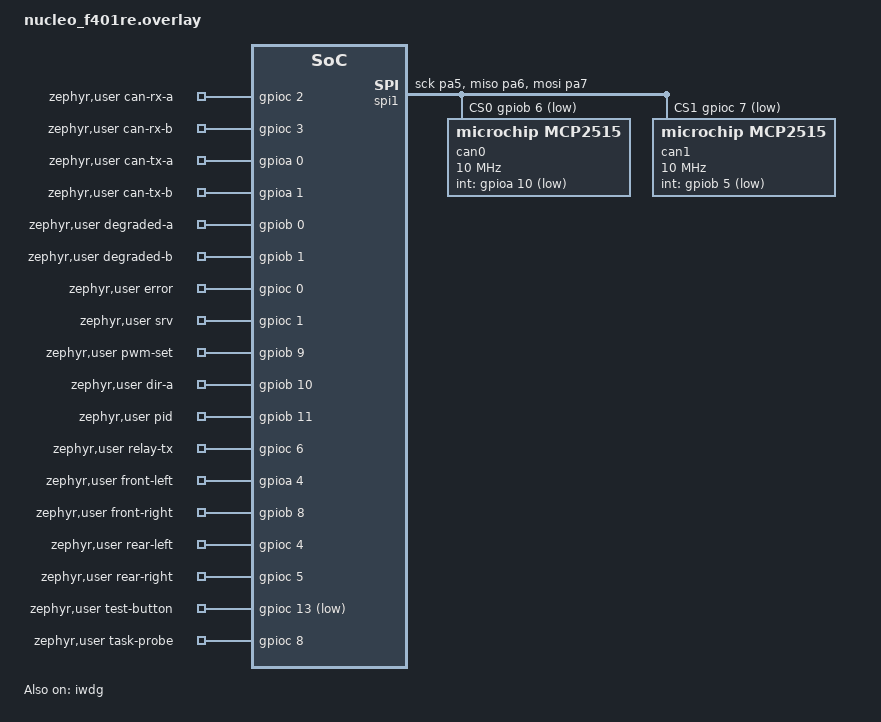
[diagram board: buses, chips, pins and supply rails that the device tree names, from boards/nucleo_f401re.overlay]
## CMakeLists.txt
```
cmake_minimum_required(VERSION 3.28.0)
find_package(Zephyr REQUIRED HINTS $ENV{ZEPHYR_BASE})
project(lab3_dual_can_demo)
get_filename_component(team_root "${CMAKE_CURRENT_SOURCE_DIR}/../../.." ABSOLUTE)
target_sources(app PRIVATE src/main.c src/can_protocol.c src/timing_trace.c src/timing_stats.c src/timing_probe.c)
if(CONFIG_LAB3_ZONE_N3)
    # Reuse the Lab 2 calculation directly; never link its encoder/motor hardware drivers.
    set(lab2_pid "${CMAKE_CURRENT_SOURCE_DIR}/../../../bringup/motor_test/src")
    target_sources(app PRIVATE src/pid_measurement.c "${lab2_pid}/velocity_control.c")
    target_include_directories(app PRIVATE "${lab2_pid}")
endif()
if(CONFIG_LAB3_ZONE_N2)
    # Reuse only Lab 2's mapping, not its PWM driver or automatic steering policy.
    set(calibration_file "${team_root}/config/servo_calibration.json")
    set_property(DIRECTORY APPEND PROPERTY CMAKE_CONFIGURE_DEPENDS "${calibration_file}")
    file(READ "${calibration_file}" calibration_json)
    foreach(point LEFT CENTER RIGHT)
        string(TOLOWER "${point}" key)
        string(JSON SERVO_${point}_US GET "${calibration_json}" "${key}_us")
        if(NOT "${SERVO_${point}_US}" MATCHES "^[0-9]+$" OR
           SERVO_${point}_US LESS 500 OR SERVO_${point}_US GREATER 2500)
            message(FATAL_ERROR "Invalid ${key} steering calibration")
        endif()
    endforeach()
    if(NOT ((SERVO_LEFT_US LESS SERVO_CENTER_US AND SERVO_CENTER_US LESS SERVO_RIGHT_US) OR
            (SERVO_LEFT_US GREATER SERVO_CENTER_US AND SERVO_CENTER_US GREATER SERVO_RIGHT_US)))
        message(FATAL_ERROR "Steering center must be between endpoints")
    endif()
    configure_file("${team_root}/stm32_zephyr/src/servo_calibration.h.in"
                   generated/servo_calibration.h @ONLY)
    target_sources(app PRIVATE src/steering_measurement.c "${team_root}/stm32_zephyr/src/servo_core.c")
    target_include_directories(app PRIVATE "${team_root}/stm32_zephyr/src"
                               "${CMAKE_CURRENT_BINARY_DIR}/generated")
endif()
```

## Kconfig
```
mainmenu "Lab 3 Dual CAN measurement baseline"
source "Kconfig.zephyr"

config LAB3_ZONE_N2
    bool "Build front steering zone N2"
    help
      Build the front STM32 demo: steering request reporting and front LEDs.

config LAB3_ZONE_N3
    bool "Build rear drivetrain zone N3"
    help
      Build the rear STM32 demo: drivetrain request reporting, PID timing, rear LEDs.

config LAB3_RELAY
    bool "Include the Part 4 relay task"
    depends on LAB3_ZONE_N2
    default n
    help
      Leave disabled for the Part 2/3 single-hop task measurements.
```

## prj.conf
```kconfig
CONFIG_CAN=y
CONFIG_CAN_INIT_PRIORITY=80
CONFIG_GPIO=y
CONFIG_SERIAL=y
CONFIG_CONSOLE=y
CONFIG_UART_CONSOLE=y
CONFIG_PRINTK=y
CONFIG_PRINTK_SYNC=n
CONFIG_MAIN_STACK_SIZE=2048
CONFIG_SYSTEM_WORKQUEUE_STACK_SIZE=2048
CONFIG_HEAP_MEM_POOL_SIZE=1024
CONFIG_SYS_CLOCK_TICKS_PER_SEC=1000
CONFIG_ASSERT=y
CONFIG_WATCHDOG=y
# Main installs the 1 s timeout; avoid the driver's separate boot-time timeout.
CONFIG_WDT_DISABLE_AT_BOOT=y
CONFIG_SPI=y
# Poll short MCP2515 transfers; the board default interrupt mode adds a per-byte IRQ and a sleep/wake per transaction.
CONFIG_SPI_STM32_INTERRUPT=n
CONFIG_CAN_MCP2515=y
CONFIG_CAN_DEFAULT_BITRATE=500000
# One software filter per catalog ID, for each controller.
CONFIG_CAN_MAX_FILTER=7
CONFIG_CAN_MCP2515_INT_THREAD_PRIO=2
CONFIG_EVENTS=y
CONFIG_SHELL=y
CONFIG_SHELL_STACK_SIZE=2048
CONFIG_THREAD_NAME=y
# Per-activation heartbeat runtime, separate from elapsed GPIO pulses.
CONFIG_THREAD_RUNTIME_STATS=y
CONFIG_FAULT_DUMP=2
CONFIG_DEBUG_COREDUMP=y
CONFIG_DEBUG_COREDUMP_BACKEND_LOGGING=y
CONFIG_DEBUG_COREDUMP_MEMORY_DUMP_MIN=y
CONFIG_LOG_PRINTK=n
```

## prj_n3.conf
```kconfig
CONFIG_LAB3_ZONE_N3=y
# Match Lab 2's floating-point PID execution and preserve FP state across threads.
CONFIG_FPU=y
CONFIG_FPU_SHARING=y
```

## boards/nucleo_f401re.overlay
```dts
/* Lab 3 dual MCP2515 overlay for NUCLEO-F401RE.
 * Check pinctrl labels and the exact module oscillator before flashing.
 * Suggested wiring: SPI1 PA5/PA6/PA7 shared; CAN A CS PB6 / INT PA10;
 * CAN B CS PC7 / INT PB5. MCP2515 modules use 16 MHz oscillator per handout.
 */
#include <zephyr/dt-bindings/gpio/gpio.h>

/ {
    aliases { can-a = &can_a; can-b = &can_b; };
    zephyr,user {
        can-rx-a-gpios = <&gpioc 2 GPIO_ACTIVE_HIGH>;
        can-rx-b-gpios = <&gpioc 3 GPIO_ACTIVE_HIGH>;
        can-tx-a-gpios = <&gpioa 0 GPIO_ACTIVE_HIGH>;
        can-tx-b-gpios = <&gpioa 1 GPIO_ACTIVE_HIGH>;
        degraded-a-gpios = <&gpiob 0 GPIO_ACTIVE_HIGH>;
        degraded-b-gpios = <&gpiob 1 GPIO_ACTIVE_HIGH>;
        error-gpios = <&gpioc 0 GPIO_ACTIVE_HIGH>;
        srv-gpios = <&gpioc 1 GPIO_ACTIVE_HIGH>;
        pwm-set-gpios = <&gpiob 9 GPIO_ACTIVE_HIGH>;
        dir-a-gpios = <&gpiob 10 GPIO_ACTIVE_HIGH>;
        pid-gpios = <&gpiob 11 GPIO_ACTIVE_HIGH>;
        relay-tx-gpios = <&gpioc 6 GPIO_ACTIVE_HIGH>;
        front-left-gpios = <&gpioa 4 GPIO_ACTIVE_HIGH>;
        front-right-gpios = <&gpiob 8 GPIO_ACTIVE_HIGH>;
        rear-left-gpios = <&gpioc 4 GPIO_ACTIVE_HIGH>;
        rear-right-gpios = <&gpioc 5 GPIO_ACTIVE_HIGH>;
        /* Built-in blue B1 button, replacing the external PA8 test input. */
        test-button-gpios = <&gpioc 13 GPIO_ACTIVE_LOW>;
        task-probe-gpios = <&gpioc 8 GPIO_ACTIVE_HIGH>;
    };
};

&spi1 {
    status = "okay";
    pinctrl-0 = <&spi1_sck_pa5 &spi1_miso_pa6 &spi1_mosi_pa7>;
    pinctrl-names = "default";
    cs-gpios = <&gpiob 6 (GPIO_ACTIVE_LOW | GPIO_PULL_UP)>,
               <&gpioc 7 (GPIO_ACTIVE_LOW | GPIO_PULL_UP)>;
    can_a: mcp2515@0 {
        compatible = "microchip,mcp2515";
        reg = <0>;
        spi-max-frequency = <10000000>; /* MCP2515 max; STM32 SPI1 runs 84 MHz/16 = 5.25 MHz */
        int-gpios = <&gpioa 10 GPIO_ACTIVE_LOW>;
        osc-freq = <16000000>;
        status = "okay";
        label = "can0";
    };
    can_b: mcp2515@1 {
        compatible = "microchip,mcp2515";
        reg = <1>;
        spi-max-frequency = <10000000>; /* MCP2515 max; STM32 SPI1 runs 84 MHz/16 = 5.25 MHz */
        int-gpios = <&gpiob 5 GPIO_ACTIVE_LOW>;
        osc-freq = <16000000>;
        status = "okay";
        label = "can1";
    };
};

/* Independent watchdog: confirm this node label is present in your Zephyr board DTS. */
&iwdg { status = "okay"; };
```

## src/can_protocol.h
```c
#ifndef LAB3_CAN_PROTOCOL_H
#define LAB3_CAN_PROTOCOL_H
#include <stdbool.h>
#include <stdint.h>
#include <zephyr/drivers/can.h>
#define ID_CTRL  0x010
#define ID_FAULT 0x020
#define ID_HB_N1 0x100
#define ID_HB_N2 0x101
#define ID_HB_N3 0x102
#define ID_BLINK 0x200
#define ID_FORCE 0x300
#define ZONE_N1 1
#define ZONE_N2 2
#define ZONE_N3 3
#define STATE_ERROR 0
#define STATE_OK 1
#define STATE_TEST 2
#define BLINK_OFF 0
#define BLINK_LEFT 1
#define BLINK_RIGHT 2
#define BLINK_HAZARD 3
uint8_t lab3_crc8(const uint8_t *data, unsigned length);
bool lab3_frame_valid(const struct can_frame *frame);
void lab3_seal(struct can_frame *frame);
void lab3_pack_heartbeat(struct can_frame *frame, uint32_t id, uint8_t seq, uint8_t state, bool bus_a, bool bus_b);
void lab3_pack_fault(struct can_frame *frame, uint8_t seq, uint8_t zone, uint8_t reason);
void lab3_pack_force(struct can_frame *frame, uint8_t seq, int8_t counter);
#endif
```

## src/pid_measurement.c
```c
#include "pid_measurement.h"

void lab3_pid_measurement_init(struct lab3_pid_measurement *measurement)
{
    *measurement = (struct lab3_pid_measurement){0};
}

/* Bounded repeatable counts avoid signed overflow in a continuous bench run.
 * The returned result is consumed by firmware telemetry, preserving the work. */
struct lab3_pid_result lab3_pid_measurement_step(struct lab3_pid_measurement *measurement)
{
    static const int32_t count_steps[] = {44, 88, 132};
    static const float targets[] = {150.0f, 300.0f, 23.0f};
    unsigned sample = measurement->samples % 300;
    unsigned phase = sample / 100;
    if (sample == 0) {
        measurement->counts = 0;
        velocity_init(&measurement->control, 0, 0, 0);
    }
    if (sample == 200) {
        /* A fresh controller at high measured speed exercises its lower clamp. */
        velocity_init(&measurement->control, -measurement->counts,
            measurement->counts, (int64_t)sample * VELOCITY_PERIOD_MS);
    }
    measurement->counts += count_steps[phase];
    int status = velocity_update(&measurement->control, -measurement->counts,
        measurement->counts, (int64_t)(sample + 1) * VELOCITY_PERIOD_MS,
        targets[phase], true);
    measurement->samples++;
    return (struct lab3_pid_result){
        .samples = measurement->samples,
        .status = status,
        .rpm_milli = (int32_t)(measurement->control.average_rpm * 1000.0f),
        .duty_milli = (int32_t)(measurement->control.command[0] * 1000.0f),
    };
}
```

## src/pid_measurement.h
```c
#ifndef LAB3_PID_MEASUREMENT_H
#define LAB3_PID_MEASUREMENT_H
#include "velocity_control.h"

struct lab3_pid_measurement {
    struct velocity_control control;
    uint32_t samples;
    int32_t counts;
};

struct lab3_pid_result {
    uint32_t samples;
    int status;
    int32_t rpm_milli;
    int32_t duty_milli;
};

/* Synthetic benchmark only: no encoder, PWM or motor-driver access. */
void lab3_pid_measurement_init(struct lab3_pid_measurement *measurement);
/* Run one full, unchanged Lab 2 PID update on a synthetic 20 ms encoder sample.
 * The Lab 3 worker invokes this every 10 ms; synthetic time is independent.
 * Three 100-sample phases exercise under-speed, acceleration and overspeed. */
struct lab3_pid_result lab3_pid_measurement_step(struct lab3_pid_measurement *measurement);
#endif
```

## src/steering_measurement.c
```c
#include "steering_measurement.h"
#include "servo_core.h"
#include "servo_calibration.h"

/* Same tracked calibration as Lab 2; no servo state machine or hardware driver. */
static const struct servo_control calibration = {
    .left = SERVO_DEFAULT_LEFT_US,
    .center = SERVO_DEFAULT_CENTER_US,
    .right = SERVO_DEFAULT_RIGHT_US,
    .marks = 7,
};

uint16_t lab3_steering_pulse(int16_t steer)
{
    return servo_map(&calibration, steer);
}
```

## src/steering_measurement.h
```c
#ifndef LAB3_STEERING_MEASUREMENT_H
#define LAB3_STEERING_MEASUREMENT_H
#include <stdint.h>
/* Run Lab 2's calibrated mapping only; the returned microseconds never drive PWM. */
uint16_t lab3_steering_pulse(int16_t steer);
#endif
```

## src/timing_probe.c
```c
/* Runtime GPIO selection avoids reflashing for each task's scope measurement. */
#include "timing_probe.h"
#include "timing_trace.h"
#include <zephyr/kernel.h>
#include <zephyr/shell/shell.h>
#include <zephyr/sys/atomic.h>
#include <errno.h>
#include <string.h>

#define TASK_PROBE 16
static atomic_t selected = -1;
static atomic_t ready;
static atomic_t tx_enabled = 1;

bool lab3_measurement_tx_enabled(void) {
    return atomic_get(&tx_enabled) != 0;
}

/* An aggregate RX selection follows either bus-specific dispatch marker. */
static bool probe_matches(enum lab3_timing_id id) {
    atomic_val_t probe = atomic_get(&selected);
    return probe == (atomic_val_t)id ||
        (probe == T_RX_DISPATCH && (id == T_RX_DISPATCH_A || id == T_RX_DISPATCH_B));
}

void lab3_probe_ready(void) {
    atomic_set(&ready, 1);
}

/* Only independently executing single-worker bodies can drive the shared probe. */
static bool probe_allowed(enum lab3_timing_id id) {
#if !defined(CONFIG_LAB3_ZONE_N3)
    if (id == T_PID) return false;
#endif
#if !defined(CONFIG_LAB3_ZONE_N2)
    if (id == T_FORCE_TX) return false;
#endif
#if !defined(CONFIG_LAB3_RELAY)
    if (id == T_RELAY) return false;
#endif
    return id == T_RX_DISPATCH || id == T_RX_DISPATCH_A || id == T_RX_DISPATCH_B ||
           id == T_STEER_DRIVE || id == T_HB_MON ||
           id == T_HB_TX || id == T_PID || id == T_TEST_BTN || id == T_RELAY ||
           id == T_FORCE_TX || id == T_BLINK;
}

uint32_t lab3_task_start(enum lab3_timing_id id) {
    if (probe_matches(id)) lab3_trace_set(TASK_PROBE, 1);
    return lab3_timing_start();
}

void lab3_task_end(enum lab3_timing_id id, uint32_t start) {
    lab3_timing_end(id, start);
    if (probe_matches(id)) lab3_trace_set(TASK_PROBE, 0);
}

/* `timing probe NAME|off` selects the PC8 pulse; queue delays cannot be selected. */
static int cmd_probe(const struct shell *shell, size_t argc, char **argv) {
    ARG_UNUSED(argc);
    if (!atomic_get(&ready)) {
        shell_error(shell, "Hardware initialization has not completed");
        return -EAGAIN;
    }
    int next = -1;
    if (strcmp(argv[1], "off") != 0) {
        for (int id=0; id<T_COUNT; ++id) {
            if (probe_allowed(id) && strcmp(argv[1], lab3_timing_name(id)) == 0) next = id;
        }
        if (next < 0) {
            shell_error(shell, "Select rx_dispatch, rx_dispatch_a/b, steer/drive (this zone), hb_mon, hb_tx, pid, test_btn, relay, force_tx, blink, or off");
            return -EINVAL;
        }
    }
    /* Changing selection interrupts the current pulse; discard that acquisition. */
    atomic_set(&selected, -1);
    lab3_trace_set(TASK_PROBE, 0);
    atomic_set(&selected, next);
    shell_print(shell, "PC8 probe=%s; discard captures during selection changes", argv[1]);
    return 0;
}

/* Pause application submissions only; already queued CAN frames may still finish. */
static int cmd_tx(const struct shell *shell, size_t argc, char **argv) {
    ARG_UNUSED(argc);
    if (!atomic_get(&ready)) return -EAGAIN;
    if (strcmp(argv[1], "on") != 0 && strcmp(argv[1], "off") != 0) return -EINVAL;
    atomic_set(&tx_enabled, strcmp(argv[1], "on") == 0);
    shell_print(shell, "Application TX=%s; queued frames may still finish", argv[1]);
    return 0;
}

SHELL_STATIC_SUBCMD_SET_CREATE(timing_commands,
    SHELL_CMD_ARG(probe, NULL, "Select one task's PC8 elapsed-body pulse, or off", cmd_probe, 2, 0),
    SHELL_CMD_ARG(tx, NULL, "Application TX on/off for isolated receive measurements", cmd_tx, 2, 0),
    SHELL_SUBCMD_SET_END);
SHELL_CMD_REGISTER(timing, &timing_commands, "Measurement controls", NULL);
```

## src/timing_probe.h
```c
#ifndef LAB3_TIMING_PROBE_H
#define LAB3_TIMING_PROBE_H
#include "timing_stats.h"
#include <stdbool.h>
/* Measurement-only TX gate, default on; pause both nodes for isolated RX captures. */
bool lab3_measurement_tx_enabled(void);
/* Called by main only after hardware initialization succeeds. */
void lab3_probe_ready(void);
/* The selected single-worker task pulses PC8; all bodies retain cycle statistics. */
uint32_t lab3_task_start(enum lab3_timing_id id);
void lab3_task_end(enum lab3_timing_id id, uint32_t start);
#endif
```

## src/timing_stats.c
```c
/* Low-overhead observed execution timing; max is not a formal WCET proof. */
#include "timing_stats.h"
#include <zephyr/kernel.h>
#include <zephyr/sys/atomic.h>
static atomic_t max_cycles[T_COUNT];
static atomic_t counts[T_COUNT];
static const char *const names[T_COUNT] = {
    "rx_dispatch", "can_tx",
#if defined(CONFIG_LAB3_ZONE_N2)
    "steer",
#else
    "drive",
#endif
    "hb_mon", "hb_tx", "pid", "test_btn", "relay", "force_tx", "blink",
    "rx_dispatch_a", "rx_dispatch_b", "rx_queue_a", "rx_queue_b",
    "rx_callback_a", "rx_callback_b", "control_queue", "overhead",
    "rx_callback_to_end_a", "rx_callback_to_end_b",
};

/* Names are shared by console records and the runtime GPIO probe selector. */
const char *lab3_timing_name(enum lab3_timing_id id) {
    return id >= 0 && id < T_COUNT ? names[id] : 0;
}
uint32_t lab3_timing_start(void) { return k_cycle_get_32(); }
void lab3_timing_end(enum lab3_timing_id id, uint32_t start) {
    if (id < 0 || id >= T_COUNT) return;
    uint32_t elapsed = k_cycle_get_32() - start;
    atomic_inc(&counts[id]);
    atomic_val_t old = atomic_get(&max_cycles[id]);
    while ((uint32_t)old < elapsed && !atomic_cas(&max_cycles[id], old, (atomic_val_t)elapsed))
        old = atomic_get(&max_cycles[id]);
}
/* Preserve raw maxima so integer microsecond rounding is visible in reports. */
uint32_t lab3_timing_max_cycles(enum lab3_timing_id id) {
    if (id < 0 || id >= T_COUNT) return 0;
    return (uint32_t)atomic_get(&max_cycles[id]);
}
uint32_t lab3_timing_max_us(enum lab3_timing_id id) {
    return k_cyc_to_us_ceil32(lab3_timing_max_cycles(id));
}
uint32_t lab3_timing_count(enum lab3_timing_id id) {
    if (id < 0 || id >= T_COUNT) return 0;
    return (uint32_t)atomic_get(&counts[id]);
}
```

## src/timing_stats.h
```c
#ifndef LAB3_TIMING_STATS_H
#define LAB3_TIMING_STATS_H
#include <stdint.h>
enum lab3_timing_id {
    T_RX_DISPATCH=0, T_CAN_TX=1, T_STEER_DRIVE=2, T_HB_MON=3,
    T_HB_TX=4, T_PID=5, T_TEST_BTN=6, T_RELAY=7,
    T_FORCE_TX, T_BLINK, T_RX_DISPATCH_A, T_RX_DISPATCH_B,
    T_RX_QUEUE_A, T_RX_QUEUE_B, T_RX_CALLBACK_A, T_RX_CALLBACK_B,
    T_CONTROL_QUEUE, T_OVERHEAD, T_RX_CALLBACK_TO_END_A, T_RX_CALLBACK_TO_END_B, T_COUNT
};
const char *lab3_timing_name(enum lab3_timing_id id);
uint32_t lab3_timing_start(void);
void lab3_timing_end(enum lab3_timing_id id, uint32_t start_cycles);
/* Unsigned cycle subtraction supports one wrap; samples must be shorter than a wrap. */
uint32_t lab3_timing_max_cycles(enum lab3_timing_id id);
/* Round maxima upward, retaining raw cycles separately for analysis. */
uint32_t lab3_timing_max_us(enum lab3_timing_id id);
uint32_t lab3_timing_count(enum lab3_timing_id id);
#endif
```

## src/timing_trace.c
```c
/* GPIO probe mapping is defined in boards/nucleo_f401re.overlay. */
#include "timing_trace.h"
#include <zephyr/drivers/gpio.h>
#include <zephyr/devicetree.h>
#include <zephyr/sys/util.h>
#include <errno.h>
static const struct gpio_dt_spec pins[] = {
 GPIO_DT_SPEC_GET(DT_PATH(zephyr_user), can_rx_a_gpios),
 GPIO_DT_SPEC_GET(DT_PATH(zephyr_user), can_rx_b_gpios),
 GPIO_DT_SPEC_GET(DT_PATH(zephyr_user), can_tx_a_gpios),
 GPIO_DT_SPEC_GET(DT_PATH(zephyr_user), can_tx_b_gpios),
 GPIO_DT_SPEC_GET(DT_PATH(zephyr_user), degraded_a_gpios),
 GPIO_DT_SPEC_GET(DT_PATH(zephyr_user), degraded_b_gpios),
 GPIO_DT_SPEC_GET(DT_PATH(zephyr_user), error_gpios),
 GPIO_DT_SPEC_GET(DT_PATH(zephyr_user), srv_gpios),
 GPIO_DT_SPEC_GET(DT_PATH(zephyr_user), pwm_set_gpios),
 GPIO_DT_SPEC_GET(DT_PATH(zephyr_user), dir_a_gpios),
 GPIO_DT_SPEC_GET(DT_PATH(zephyr_user), pid_gpios),
 GPIO_DT_SPEC_GET(DT_PATH(zephyr_user), front_left_gpios),
 GPIO_DT_SPEC_GET(DT_PATH(zephyr_user), front_right_gpios),
 GPIO_DT_SPEC_GET(DT_PATH(zephyr_user), rear_left_gpios),
 GPIO_DT_SPEC_GET(DT_PATH(zephyr_user), rear_right_gpios),
 GPIO_DT_SPEC_GET(DT_PATH(zephyr_user), relay_tx_gpios),
 GPIO_DT_SPEC_GET(DT_PATH(zephyr_user), task_probe_gpios),
};
static int levels[ARRAY_SIZE(pins)];
int lab3_trace_init(void) {
 for (unsigned i=0; i<ARRAY_SIZE(pins); ++i) {
  if (!gpio_is_ready_dt(&pins[i])) return -ENODEV;
  int rc = gpio_pin_configure_dt(&pins[i], GPIO_OUTPUT_INACTIVE); if (rc) return rc;
  levels[i]=0;
 }
 return 0;
}
void lab3_trace_toggle(unsigned i) {
 if (i >= ARRAY_SIZE(pins)) return;
 levels[i] = !levels[i]; (void)gpio_pin_set_dt(&pins[i], levels[i]);
}
void lab3_trace_set(unsigned i, int active) {
 if (i >= ARRAY_SIZE(pins)) return;
 levels[i] = !!active; (void)gpio_pin_set_dt(&pins[i], levels[i]);
}
```

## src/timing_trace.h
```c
#ifndef LAB3_TIMING_TRACE_H
#define LAB3_TIMING_TRACE_H
#include <stdint.h>
int lab3_trace_init(void);
void lab3_trace_toggle(unsigned index);
void lab3_trace_set(unsigned index, int active);
/* Probe indexes: 0 RX_A, 1 RX_B, 2 TX_A, 3 TX_B, 4 DEG_A, 5 DEG_B,
 * 6 ERR, 7 SRV/STEER, 8 PWM_SET/DRIVE, 9 DIR_A, 10 PID, 11 FL, 12 FR, 13 RL, 14 RR, 15 RELAY_TX. */
#endif
```
